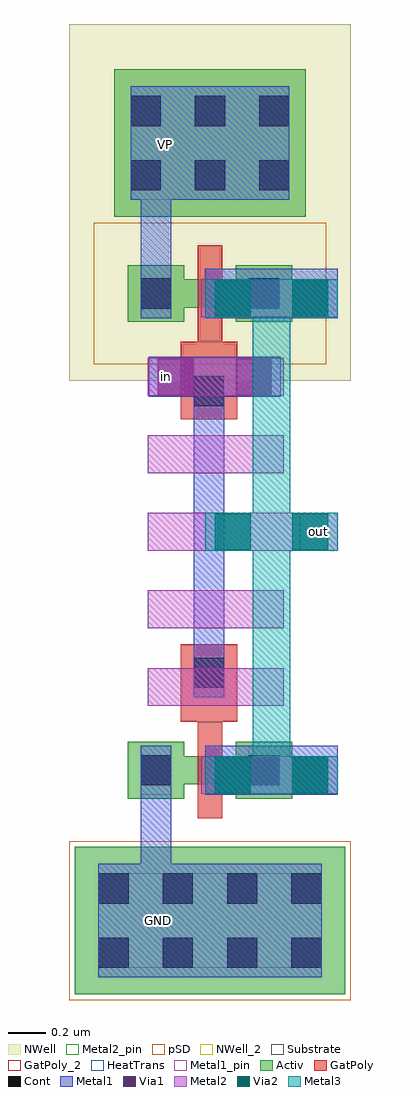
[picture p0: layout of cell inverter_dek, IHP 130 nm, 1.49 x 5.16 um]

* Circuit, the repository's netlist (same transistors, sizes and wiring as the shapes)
** sch_path: /foss/designs/CHIP-PLL/schematics/divider/schematics/inverter.sch
.subckt inverter IN OUT VP GND
*.PININFO IN:I VP:B OUT:O GND:B
MM1 OUT IN GND GND sg13_lv_nmos w=0.15u l=0.13u ng=1
MM2 OUT IN VP VP sg13_lv_pmos w=0.15u l=0.13u ng=1
.ends

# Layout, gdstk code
from math import pi, radians
import gdstk
lib = gdstk.Library(unit=1e-6, precision=1e-09)
def R(c, l, rs):  # rectangles x0, y0, x1, y1
    for r in rs: c.add(gdstk.rectangle(r[:2], r[2:], *l))
def A(c, l, x, y, w, h, nx, ny, dx, dy):  # array of equal rectangles
    R(c, l, [(x+i*dx, y+j*dy, x+i*dx+w, y+j*dy+h) for i in range(nx) for j in range(ny)])
Activ = (1, 0)
GatPoly = (5, 0)
GatPoly_2 = (5, 2)
Cont = (6, 0)
Metal1 = (8, 0)
Metal1_pin = (8, 2)
Metal2 = (10, 0)
Metal2_pin = (10, 2)
pSD = (14, 0)
Via1 = (19, 0)
Via2 = (29, 0)
Metal3 = (30, 0)
NWell = (31, 0)
NWell_2 = (31, 2)
Substrate = (40, 0)
HeatTrans = (51, 0)

via_4 = lib.new_cell('Via$4')
R(via_4, Metal2, [(-0.1,-0.35,0.1,0.35)])
R(via_4, Via2, [(-0.095,-0.3,0.095,-0.11), (-0.095,0.11,0.095,0.3)])
R(via_4, Metal3, [(-0.1,-0.35,0.1,0.35)])

ntap1 = lib.new_cell('ntap1')
R(ntap1, Activ, [(0,0,1.01,0.78)])
A(ntap1, Cont, 0.085, 0.14, 0.16, 0.16, 3, 2, 0.34, 0.34)
R(ntap1, Metal1, [(0.085,0.09,0.925,0.69)])
R(ntap1, Metal1_pin, [(0.085,0.09,0.925,0.69), (0.085,0.14,0.925,0.64)])
R(ntap1, NWell, [(-0.24,-0.24,1.25,1.02), (0,0,1.01,0.78)])
R(ntap1, NWell_2, [(0,0,1.01,0.78)])
ntap1.add(gdstk.Label('well', (0.505,0.01), layer=63, texttype=0))
ntap1.add(gdstk.Label('well', (0.505,0.01), layer=31, texttype=0))

ptap1 = lib.new_cell('ptap1')
R(ptap1, Activ, [(0,0,1.43,0.78)])
A(ptap1, Cont, 0.125, 0.14, 0.16, 0.16, 4, 2, 0.34, 0.34)
R(ptap1, Metal1, [(0.125,0.09,1.305,0.69), (0.125,0.14,1.305,0.64)])
R(ptap1, Metal1_pin, [(0.125,0.14,1.305,0.64)])
R(ptap1, pSD, [(-0.03,-0.03,1.46,0.81)])
R(ptap1, Substrate, [(0,0,1.43,0.78)])
ptap1.add(gdstk.Label('sub!', (0.715,0.01), layer=63, texttype=0))
ptap1.add(gdstk.Label('sub!', (0.715,0.01), layer=40, texttype=0))

via_2 = lib.new_cell('Via$2')
R(via_2, Metal1, [(-0.105,-0.35,0.105,0.35)])
R(via_2, Metal2, [(-0.1,-0.35,0.1,0.35)])
R(via_2, Via1, [(-0.095,-0.3,0.095,-0.11), (-0.095,0.11,0.095,0.3)])

nmos = lib.new_cell('nmos')
R(nmos, Activ, [(0,0,0.3,0.3), (0.57,0,0.87,0.3), (0,0.075,0.87,0.225)])
R(nmos, GatPoly, [(0.37,-0.105,0.5,0.405)])
R(nmos, GatPoly_2, [(0.37,-0.105,0.5,0.405)])
R(nmos, Cont, [(0.07,0.07,0.23,0.23), (0.64,0.07,0.8,0.23)])
R(nmos, Metal1, [(0.07,0.02,0.23,0.28), (0.64,0.02,0.8,0.28)])
R(nmos, Metal1_pin, [(0.07,0.02,0.23,0.28), (0.64,0.02,0.8,0.28)])
R(nmos, HeatTrans, [(0.37,-0.105,0.5,0.405)])
nmos.add(gdstk.Label('nmos', (0.435,0.15), layer=63, texttype=0))
nmos.add(gdstk.Label('nmos', (0.435,0.15), layer=51, texttype=0))

pmos = lib.new_cell('pmos')
R(pmos, Activ, [(0,0,0.3,0.3), (0.57,0,0.87,0.3), (0,0.075,0.87,0.225)])
R(pmos, GatPoly, [(0.37,-0.105,0.5,0.405), (0.37,-0.105,0.5,0.405)])
R(pmos, Cont, [(0.07,0.07,0.23,0.23), (0.64,0.07,0.8,0.23)])
R(pmos, Metal1, [(0.07,0.02,0.23,0.28), (0.07,0.02,0.23,0.28), (0.64,0.02,0.8,0.28), (0.64,0.02,0.8,0.28)])
R(pmos, pSD, [(-0.18,-0.225,1.05,0.525)])
R(pmos, NWell, [(-0.31,-0.31,1.18,0.61)])
R(pmos, HeatTrans, [(0.37,-0.105,0.5,0.405)])
pmos.add(gdstk.Label('pmos', (0.435,0.15), layer=63, texttype=0))
pmos.add(gdstk.Label('pmos', (0.435,0.15), layer=51, texttype=0))

via = lib.new_cell('Via')
R(via, GatPoly, [(-0.15,-0.15,0.15,0.15)])
R(via, Cont, [(-0.08,-0.08,0.08,0.08)])
R(via, Metal1, [(-0.13,-0.08,0.13,0.08)])

via_7 = lib.new_cell('Via$7')
R(via_7, Metal2, [(-0.35,-0.1,0.35,0.1)])
R(via_7, Via2, [(-0.3,-0.095,-0.11,0.095), (0.11,-0.095,0.3,0.095)])
R(via_7, Metal3, [(-0.35,-0.1,0.35,0.1)])

inverter_dek = lib.new_cell('inverter_dek')
R(inverter_dek, GatPoly, [(9.375,7.165,9.675,7.275), (9.375,9.065,9.675,9.175)])
R(inverter_dek, Metal1, [(9.505,6.78,10.205,7.04), (9.505,9.3,10.205,9.56)])
R(inverter_dek, Metal1_pin, [(9.16,6.015,9.36,6.215), (9.325,10.12,9.525,10.32)])
R(inverter_dek, Metal2_pin, [(10.005,8.07,10.205,8.27), (9.2,8.89,9.4,9.09)])
inverter_dek.add(gdstk.FlexPath([(9.245,9.56),(9.245,10.525)], 0.16, ends="flush", simple_path=True, layer=8, datatype=0))  # Metal1
inverter_dek.add(gdstk.FlexPath([(9.245,6.78),(9.245,6.415)], 0.16, ends="flush", simple_path=True, layer=8, datatype=0))  # Metal1
inverter_dek.add(gdstk.FlexPath([(9.525,7.555),(9.525,8.785)], 0.16, ends="flush", simple_path=True, layer=8, datatype=0))  # Metal1
inverter_dek.add(gdstk.FlexPath([(9.65,9.405),(9.485,9.405)], 0.2, ends="flush", simple_path=True, layer=10, datatype=0))  # Metal2
inverter_dek.add(gdstk.FlexPath([(9.65,6.885),(9.485,6.885)], 0.2, ends="flush", simple_path=True, layer=10, datatype=0))  # Metal2
inverter_dek.add(gdstk.FlexPath([(9.2,8.99),(9.92,8.99)], 0.2, ends="flush", simple_path=True, layer=10, datatype=0))  # Metal2
inverter_dek.add(gdstk.FlexPath([(9.2,8.58),(9.92,8.58)], 0.2, ends="flush", simple_path=True, layer=10, datatype=0))  # Metal2
inverter_dek.add(gdstk.FlexPath([(9.2,7.76),(9.92,7.76)], 0.2, ends="flush", simple_path=True, layer=10, datatype=0))  # Metal2
inverter_dek.add(gdstk.FlexPath([(9.2,7.35),(9.92,7.35)], 0.2, ends="flush", simple_path=True, layer=10, datatype=0))  # Metal2
inverter_dek.add(gdstk.FlexPath([(9.2,8.17),(10.205,8.17)], 0.2, ends="flush", simple_path=True, layer=10, datatype=0))  # Metal2
inverter_dek.add(gdstk.FlexPath([(9.855,6.885),(9.855,8.17)], 0.2, ends="flush", simple_path=True, layer=30, datatype=0))  # Metal3
inverter_dek.add(gdstk.FlexPath([(9.855,9.405),(9.855,8.17)], 0.2, ends="flush", simple_path=True, layer=30, datatype=0))  # Metal3
inverter_dek.add(gdstk.Reference(via_4, (9.855,6.885), rotation=3*pi/2))
inverter_dek.add(gdstk.Reference(ntap1, (9.025,9.835)))
inverter_dek.add(gdstk.Reference(ptap1, (8.815,5.725)))
inverter_dek.add(gdstk.Reference(via_2, (9.855,6.885), rotation=3*pi/2))
inverter_dek.add(gdstk.Reference(nmos, (9.095,6.76)))
inverter_dek.add(gdstk.Reference(pmos, (9.095,9.28)))
inverter_dek.add(gdstk.Reference(via, (9.525,8.915), rotation=pi/2))
inverter_dek.add(gdstk.Reference(via, (9.525,7.425), rotation=3*pi/2))
inverter_dek.add(gdstk.Reference(via_4, (9.855,9.405), rotation=3*pi/2))
inverter_dek.add(gdstk.Reference(via_2, (9.555,8.99), rotation=3*pi/2))
inverter_dek.add(gdstk.Reference(via_2, (9.855,9.405), rotation=3*pi/2))
inverter_dek.add(gdstk.Reference(via_7, (9.855,8.17)))
inverter_dek.add(gdstk.Label('out', (10.105,8.17), layer=10, texttype=25))
inverter_dek.add(gdstk.Label('in', (9.3,8.99), layer=10, texttype=25))
inverter_dek.add(gdstk.Label('VP', (9.295,10.22), layer=8, texttype=25))
inverter_dek.add(gdstk.Label('GND', (9.26,6.115), layer=8, texttype=25))

lib.write_gds('inverter_dek.gds')
